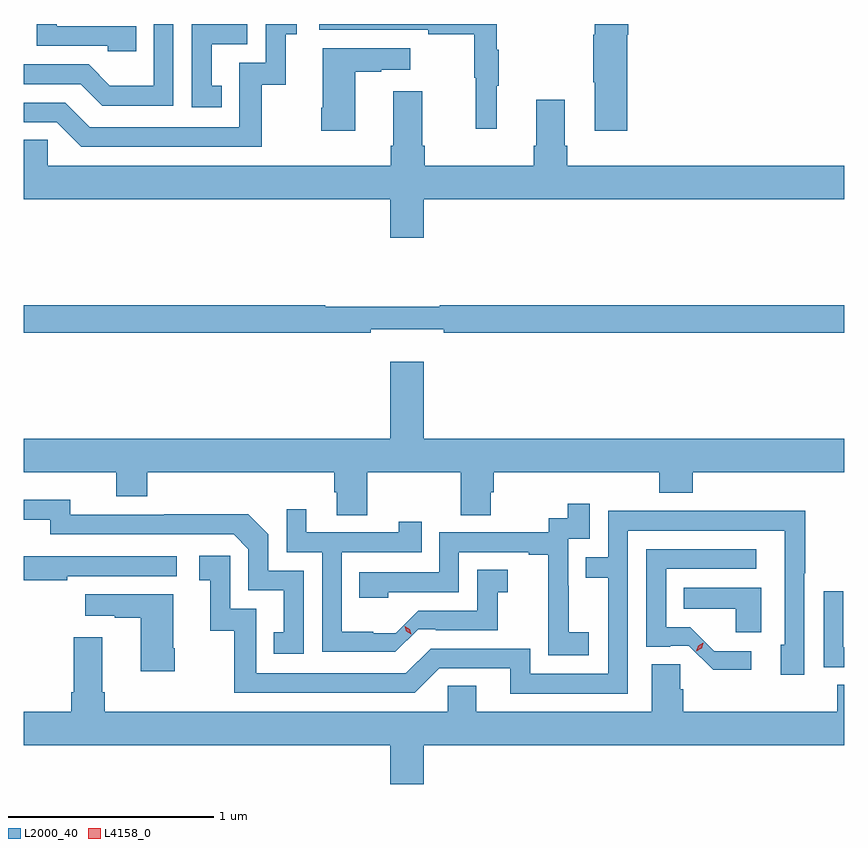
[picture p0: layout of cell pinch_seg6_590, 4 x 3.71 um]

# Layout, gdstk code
import gdstk
lib = gdstk.Library(unit=1e-6, precision=1e-09)
def P(c, l, *ps):  # polygons
    for p in ps: c.add(gdstk.Polygon(p, *l))
L2000_40 = (2000, 40)
L4158_0 = (4158, 0)

pinch_seg6_590 = lib.new_cell('pinch_seg6_590')
P(pinch_seg6_590, L2000_40, [(499.85,990.513),(499.801,990.513),(499.801,990.717),(499.974,990.717),(499.974,990.815),(499.878,990.815),(499.878,990.813),(499.704,990.813),(499.704,990.408),(499.85,990.408)],
  [(501.827,990.762),(501.832,990.762),(501.832,990.815),(501.668,990.815),(501.668,990.762),(501.661,990.762),(501.661,990.532),(501.668,990.532),(501.668,990.294),(501.827,990.294)],
  [(501.191,990.515),(501.202,990.515),(501.202,990.689),(501.191,990.689),(501.191,990.815),(500.325,990.815),(500.325,990.786),(500.857,990.786),(500.857,990.766),(501.081,990.766),(501.081,990.552),(501.088,990.552),(501.088,990.303),(501.191,990.303)],
  [(499.614,990.815),(499.518,990.815),(499.518,990.514),(499.304,990.514),(499.2,990.618),(498.885,990.618),(498.885,990.522),(499.163,990.522),(499.268,990.417),(499.614,990.417)],
  [(499.433,990.804),(499.044,990.804),(499.044,990.815),(498.948,990.815),(498.948,990.708),(499.293,990.708),(499.293,990.681),(499.433,990.681)],
  [(500.044,990.519),(500.162,990.519),(500.162,990.765),(500.215,990.765),(500.215,990.815),(500.064,990.815),(500.064,990.627),(499.935,990.627),(499.935,990.312),(499.206,990.312),(499.086,990.432),(498.885,990.432),(498.885,990.336),(499.044,990.336),(499.164,990.216),(500.044,990.216)],
  [(500.5,990.583),(500.627,990.583),(500.627,990.593),(500.77,990.593),(500.77,990.697),(500.342,990.697),(500.342,990.406),(500.335,990.406),(500.335,990.294),(500.5,990.294)],
  [(500.687,990.487),(500.687,990.22),(500.675,990.22),(500.675,990.124),(499.002,990.124),(499.002,990.251),(498.885,990.251),(498.885,989.96),(500.672,989.96),(500.672,989.772),(500.836,989.772),(500.836,989.96),(502.885,989.96),(502.885,990.124),(501.536,990.124),(501.536,990.22),(501.523,990.22),(501.523,990.445),(501.383,990.445),(501.383,990.22),(501.371,990.22),(501.371,990.124),(500.84,990.124),(500.84,990.22),(500.827,990.22),(500.827,990.487)],
  [(500.576,989.327),(500.932,989.327),(500.932,989.308),(502.885,989.308),(502.885,989.444),(500.913,989.444),(500.913,989.437),(500.355,989.437),(500.355,989.444),(498.885,989.444),(498.885,989.308),(500.576,989.308)],
  [(500.836,989.167),(500.672,989.167),(500.672,988.792),(498.885,988.792),(498.885,988.628),(499.334,988.628),(499.334,988.511),(499.487,988.511),(499.487,988.628),(500.399,988.628),(500.399,988.53),(500.411,988.53),(500.411,988.42),(500.559,988.42),(500.559,988.628),(501.016,988.628),(501.016,988.42),(501.163,988.42),(501.163,988.53),(501.176,988.53),(501.176,988.628),(501.983,988.628),(501.983,988.529),(502.148,988.529),(502.148,988.628),(502.885,988.628),(502.885,988.792),(500.836,988.792)],
  [(500.25,988.149),(500.076,988.149),(500.076,988.326),(499.978,988.424),(499.57,988.424),(499.57,988.422),(499.11,988.422),(499.11,988.495),(498.885,988.495),(498.885,988.398),(499.014,988.398),(499.014,988.326),(499.908,988.326),(499.98,988.254),(499.98,988.053),(500.153,988.053),(500.153,987.849),(500.104,987.849),(500.104,987.744),(500.25,987.744)],
  [(501.64,987.847),(501.542,987.847),(501.542,988.076),(501.54,988.076),(501.54,988.305),(501.645,988.305),(501.645,988.474),(501.537,988.474),(501.537,988.404),(501.444,988.404),(501.444,988.335),(500.91,988.335),(500.91,988.14),(500.521,988.14),(500.521,988.016),(500.661,988.016),(500.661,988.044),(501.006,988.044),(501.006,988.239),(501.347,988.239),(501.347,988.227),(501.443,988.227),(501.443,987.943),(501.442,987.943),(501.442,987.737),(501.64,987.737)],
  [(500.808,987.864),(500.893,987.864),(500.893,987.858),(501.195,987.858),(501.195,988.043),(501.244,988.043),(501.244,988.153),(501.096,988.153),(501.096,987.954),(500.809,987.954),(500.698,987.843),(500.588,987.843),(500.588,987.85),(500.436,987.85),(500.436,988.239),(500.825,988.239),(500.825,988.387),(500.714,988.387),(500.714,988.335),(500.263,988.335),(500.263,988.447),(500.166,988.447),(500.166,988.239),(500.34,988.239),(500.34,987.753),(500.697,987.753)],
  [(501.831,988.344),(502.596,988.344),(502.596,987.786),(502.577,987.786),(502.577,987.642),(502.692,987.642),(502.692,988.135),(502.695,988.135),(502.695,988.442),(502.231,988.442),(502.231,988.44),(501.735,988.44),(501.735,988.215),(501.625,988.215),(501.625,988.114),(501.735,988.114),(501.735,987.645),(501.354,987.645),(501.354,987.768),(500.868,987.768),(500.748,987.648),(500.019,987.648),(500.019,987.963),(499.89,987.963),(499.89,988.222),(499.74,988.222),(499.74,988.101),(499.793,988.101),(499.793,987.855),(499.911,987.855),(499.911,987.552),(500.79,987.552),(500.91,987.672),(501.257,987.672),(501.257,987.549),(501.831,987.549)],
  [(502.432,987.756),(502.251,987.756),(502.134,987.873),(502.017,987.873),(502.017,988.158),(502.456,988.158),(502.456,988.254),(501.921,988.254),(501.921,987.777),(502.037,987.777),(502.037,987.783),(502.127,987.783),(502.246,987.665),(502.432,987.665)],
  [(499.097,988.122),(499.63,988.122),(499.63,988.218),(498.885,988.218),(498.885,988.102),(499.097,988.102)],
  [(502.48,988.066),(502.102,988.066),(502.102,987.962),(502.358,987.962),(502.358,987.847),(502.48,987.847)],
  [(502.885,987.774),(502.881,987.774),(502.881,988.048),(502.785,988.048),(502.785,987.678),(502.885,987.678)],
  [(499.62,987.769),(499.612,987.769),(499.612,988.033),(499.185,988.033),(499.185,987.929),(499.328,987.929),(499.328,987.919),(499.454,987.919),(499.454,987.657),(499.62,987.657)],
  [(500.836,987.296),(502.885,987.296),(502.885,987.593),(502.853,987.593),(502.853,987.46),(502.1,987.46),(502.1,987.569),(502.086,987.569),(502.086,987.692),(501.947,987.692),(501.947,987.46),(501.091,987.46),(501.091,987.587),(500.952,987.587),(500.952,987.46),(499.28,987.46),(499.28,987.556),(499.267,987.556),(499.267,987.823),(499.127,987.823),(499.127,987.556),(499.115,987.556),(499.115,987.46),(498.885,987.46),(498.885,987.296),(500.672,987.296),(500.672,987.108),(500.836,987.108)])
P(pinch_seg6_590, L4158_0, [(502.165,987.755),(502.165,987.755),(502.174,987.782),(502.199,987.796),(502.199,987.796),(502.199,987.795),(502.19,987.769),(502.165,987.755)],
  [(500.773,987.838),(500.75,987.852),(500.743,987.877),(500.743,987.877),(500.743,987.877),(500.766,987.864),(500.773,987.838),(500.773,987.838)])

lib.write_gds('pinch_seg6_590.gds')
